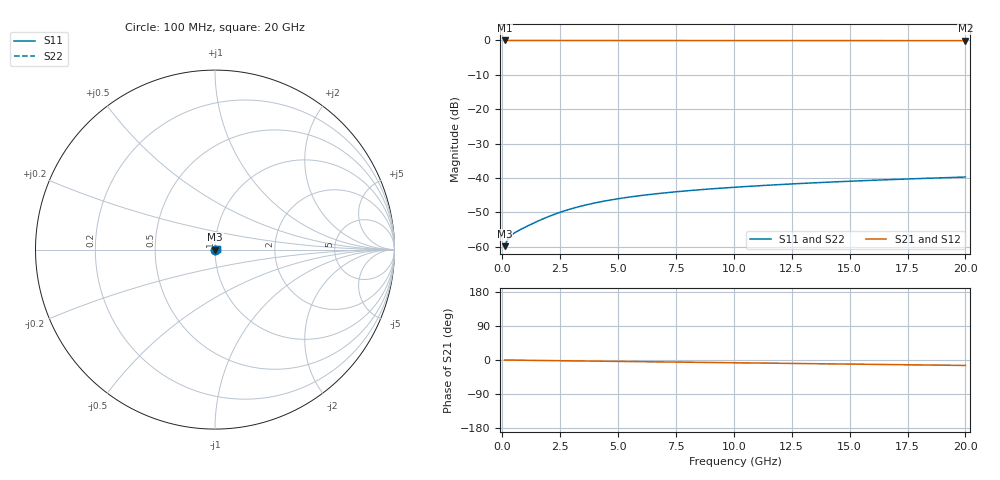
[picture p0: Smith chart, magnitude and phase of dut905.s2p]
! Touchstone file exported from HFSS 2026.1.0
!  File:  C:/ffzhzh/LocalFiles/Ansys_Project_Files/temp_train_TMRDL_905_1783157885_43440.aedt
!  Generated:  05:39:14 PM Jul  4, 2026
!  Design:  TMRDL
!  Project:  temp_train_TMRDL_905_1783157885_43440
! Variables:
!  h_bsmrdl = 2um
!  h_ox = 20um
!  h_rdl = 5um
!  h_sub = 80um
!  h_tmrdl = 4.91um
!  h_tsv = 80um
!  h_via = 3um
!  l_bsmrdl = 300um
!  l_sub = 648.16um
!  l_tmrdl = 248.16um
!  m_sub = 200um
!  pitch = 28.46um
!  r_tsv = 6um
!  s_tmrdl = 10um
!  w_bsmrdl = 18um
!  w_sub = 500um
!  w_tmrdl = 23.22um
!  x_tsv_center1 = 259.77um
!  x_tsv_center2 = 577.77um
!  x_tsv_center3 = 849.15um
!  x_tsv_center4 = 1167.15um
!  x_tsv_center5 = 1438.53um
!  x_tsv_center6 = 1756.53um
# GHz S MA R 50.000000
! Terminal data exported
! Port[1] = TM_RDL1_1_T1
! Port[2] = TM_RDL1_1_T2
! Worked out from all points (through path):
!   200 points, 100 MHz to 20 GHz, reference 50 ohm
!   highest |S21| = -0.01 dB at 100 MHz (marker M1); lowest = -0.1 dB at 20 GHz (marker M2)
!   group delay of S21, straight-line fit = 1.99 ps
!   lowest |S11| = -59.8 dB at 100 MHz (marker M3), VSWR 1.00, Z = 50.1 + j0.0296 ohm
!   |S11| at or under -10 dB: start of sweep to end of sweep
!   |S22| runs from -59.8 to -39.7 dB; largest |S21 - S12| = 2.6e-15
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0.1  0.001024 16.8  0.999 -0.1  0.999 -0.1  0.001024 16.8
! Gamma 0 0 0 0
! Port Impedance 50 0 50 0
0.2  0.001224 23.2  0.9989 -0.2  0.9989 -0.2  0.001224 23.2
0.3  0.00138 25.3  0.9988 -0.2  0.9988 -0.2  0.001379 25.3
0.4  0.001491 26.7  0.9987 -0.3  0.9987 -0.3  0.001491 26.7
0.5  0.001578 28.1  0.9986 -0.4  0.9986 -0.4  0.001577 28.1
0.8  0.001796 32.8  0.9985 -0.6  0.9985 -0.6  0.001796 32.8
1.2  0.002095 38.5  0.9984 -0.9  0.9984 -0.9  0.002095 38.5
1.6  0.002421 42.6  0.9982 -1.2  0.9982 -1.2  0.002421 42.6
2.2  0.002932 46.0  0.998 -1.7  0.998 -1.7  0.002932 46.0
2.8  0.003435 47.3  0.9978 -2.1  0.9978 -2.1  0.003435 47.3
3.1  0.003677 47.6  0.9976 -2.3  0.9976 -2.3  0.003677 47.6
3.5  0.003986 47.5  0.9974 -2.6  0.9974 -2.6  0.003986 47.5
4.2  0.004491 47.0  0.9971 -3.1  0.9971 -3.1  0.004491 47.0
5  0.005009 46.0  0.9968 -3.7  0.9968 -3.7  0.005009 46.0
5.8  0.005473 45.0  0.9964 -4.3  0.9964 -4.3  0.005473 45.0
6.8  0.005991 43.6  0.996 -5.0  0.996 -5.0  0.005991 43.6
8.3  0.006672 41.8  0.9955 -6.1  0.9955 -6.1  0.006671 41.8
10.1  0.007384 39.8  0.995 -7.4  0.995 -7.4  0.007383 39.8
11.7  0.007953 38.3  0.9945 -8.5  0.9945 -8.5  0.007952 38.3
13.4  0.00851 36.7  0.9941 -9.7  0.9941 -9.7  0.008508 36.7
16.7  0.009487 33.9  0.9933 -12.0  0.9933 -12.0  0.009484 33.9
20  0.01035 31.1  0.9926 -14.4  0.9926 -14.4  0.01035 31.1
